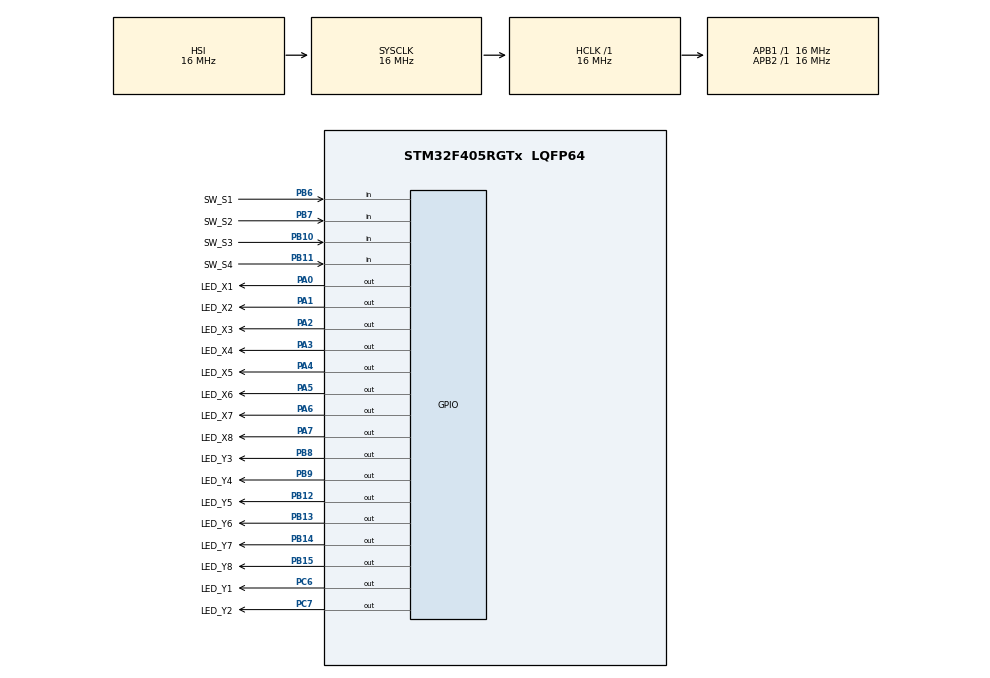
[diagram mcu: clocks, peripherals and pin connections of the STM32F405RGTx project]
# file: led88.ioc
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Mcu.Family=STM32F4
Mcu.Name=STM32F405RGTx
Mcu.Package=LQFP64
NVIC.PriorityGroup=NVIC_PRIORITYGROUP_4
PA0-WKUP.GPIO_Label=LED_X1
PA0-WKUP.PinState=GPIO_PIN_SET
PA0-WKUP.Signal=GPIO_Output
PA0-WKUP.Stacked=true
PA1.GPIO_Label=LED_X2
PA1.PinState=GPIO_PIN_SET
PA1.Signal=GPIO_Output
PA13.Mode=Serial_Wire
PA13.Signal=SYS_JTMS-SWDIO
PA14.Mode=Serial_Wire
PA14.Signal=SYS_JTCK-SWCLK
PA2.GPIO_Label=LED_X3
PA2.PinState=GPIO_PIN_SET
PA2.Signal=GPIO_Output
PA3.GPIO_Label=LED_X4
PA3.PinState=GPIO_PIN_SET
PA3.Signal=GPIO_Output
PA4.GPIO_Label=LED_X5
PA4.PinState=GPIO_PIN_SET
PA4.Signal=GPIO_Output
PA5.GPIO_Label=LED_X6
PA5.PinState=GPIO_PIN_SET
PA5.Signal=GPIO_Output
PA6.GPIO_Label=LED_X7
PA6.PinState=GPIO_PIN_SET
PA6.Signal=GPIO_Output
PA7.GPIO_Label=LED_X8
PA7.PinState=GPIO_PIN_SET
PA7.Signal=GPIO_Output
PB10.GPIO_Label=SW_S3
PB10.GPIO_PuPd=GPIO_PULLUP
PB10.Signal=GPIO_Input
PB11.GPIO_Label=SW_S4
PB11.GPIO_PuPd=GPIO_PULLUP
PB11.Signal=GPIO_Input
PB12.GPIO_Label=LED_Y5
PB12.PinState=GPIO_PIN_SET
PB12.Signal=GPIO_Output
PB13.GPIO_Label=LED_Y6
PB13.PinState=GPIO_PIN_SET
PB13.Signal=GPIO_Output
PB14.GPIO_Label=LED_Y7
PB14.PinState=GPIO_PIN_SET
PB14.Signal=GPIO_Output
PB15.GPIO_Label=LED_Y8
PB15.PinState=GPIO_PIN_SET
PB15.Signal=GPIO_Output
PB6.GPIO_Label=SW_S1
PB6.GPIO_PuPd=GPIO_PULLUP
PB6.Signal=GPIO_Input
PB7.GPIO_Label=SW_S2
PB7.GPIO_PuPd=GPIO_PULLUP
PB7.Signal=GPIO_Input
PB8.GPIO_Label=LED_Y3
PB8.PinState=GPIO_PIN_SET
PB8.Signal=GPIO_Output
PB9.GPIO_Label=LED_Y4
PB9.PinState=GPIO_PIN_SET
PB9.Signal=GPIO_Output
PC6.GPIO_Label=LED_Y1
PC6.PinState=GPIO_PIN_SET
PC6.Signal=GPIO_Output
PC7.GPIO_Label=LED_Y2
PC7.PinState=GPIO_PIN_SET
PC7.Signal=GPIO_Output
ProjectManager.HeapSize=0x200
ProjectManager.StackSize=0x400
ProjectManager.TargetToolchain=MDK-ARM V4
RCC.AHBFreq_Value=16000000
RCC.APB1Freq_Value=16000000
RCC.APB2Freq_Value=16000000
RCC.CortexFreq_Value=16000000
RCC.HSE_VALUE=25000000
RCC.HSI_VALUE=16000000
RCC.LSE_VALUE=32768
RCC.SYSCLKFreq_VALUE=16000000
RCC.VCOOutputFreq_Value=192000000
board=custom

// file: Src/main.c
/* USER CODE BEGIN Header */
/**
  ******************************************************************************
  * @file           : main.c
  * @brief          : Main program body
  ******************************************************************************
  * @attention
  *
  * <h2><center>&copy; Copyright (c) 2019 STMicroelectronics.
  * All rights reserved.</center></h2>
  *
  * This software component is licensed by ST under BSD 3-Clause license,
  * the "License"; You may not use this file except in compliance with the
  * License. You may obtain a copy of the License at:
  *                        opensource.org/licenses/BSD-3-Clause
  *
  ******************************************************************************
  */
/* USER CODE END Header */

#include "main.h"
#include "led88.h"

/* USER CODE BEGIN PV */

uint8_t led_r[8]={LED_X7_Pin,LED_X8_Pin,LED_X6_Pin,LED_X5_Pin,LED_X4_Pin,LED_X3_Pin,LED_X1_Pin,LED_X2_Pin};//?????????,???????
//uint8_t led_c[8]={LED_Y2_Pin,LED_Y1_Pin,LED_Y3_Pin,LED_Y4_Pin,LED_Y5_Pin,LED_Y6_Pin,LED_Y8_Pin,LED_Y7_Pin};//?????????,???????
uint8_t led_code[][8] = {

{0x00,0x3E,0x10,0x08,0x04,0x02,0x3E,0x00},	//×?·?N
{0x00,0x00,0x4A,0x4A,0x4A,0x4A,0x7E,0x00},	//×?·?E
{0x00,0x3E,0x40,0x40,0x40,0x40,0x3E,0x00},	//×?·?U
{0x00,0x00,0x42,0x7E,0x42,0x00,0x00,0x00},	//×?·?I
{0x0c,0x12,0x22,0x44,0x44,0x22,0x12,0x0c},	//xin;
{0x00,0x00,0x00,0x00,0x00,0x00,0x00,0x00}	//null
};

uint8_t i,j,l,m;
/* USER CODE END PV */

void SystemClock_Config(void);
static void MX_GPIO_Init(void);
/* USER CODE BEGIN PFP */
void move(void);
/* USER CODE END PFP */

int main(void)
{

  /* MCU Configuration--------------------------------------------------------*/

  /* Reset of all peripherals, Initializes the Flash interface and the Systick. */
  HAL_Init();

  /* Configure the system clock */
  SystemClock_Config();

  /* Initialize all configured peripherals */
  MX_GPIO_Init();

  /* Infinite loop */
  /* USER CODE BEGIN WHILE */
  while (1)
  {

		  for (l=0;l<10;l++)
		  {
			SwCheck(led_r,led_code);
			for(j=0;j<8;j++)
			{

			  HAL_GPIO_WritePin(GPIOA, led_r[8-j], GPIO_PIN_RESET);//低
			  SetYOutPut(~(*(*(led_code+0)+j+m)));
			  HAL_Delay(1);
			  HAL_GPIO_WritePin(GPIOA, led_r[8-j], GPIO_PIN_SET);
			}
		  }
		  if(m>31)
		  {
			m=0;
		  }
		  else m++;

    /* USER CODE END WHILE */

  }
}

void SystemClock_Config(void)
{
  RCC_OscInitTypeDef RCC_OscInitStruct = {0};
  RCC_ClkInitTypeDef RCC_ClkInitStruct = {0};

  /** Configure the main internal regulator output voltage
  */
  __HAL_RCC_PWR_CLK_ENABLE();
  __HAL_PWR_VOLTAGESCALING_CONFIG(PWR_REGULATOR_VOLTAGE_SCALE1);
  /** Initializes the CPU, AHB and APB busses clocks
  */
  RCC_OscInitStruct.OscillatorType = RCC_OSCILLATORTYPE_HSI;
  RCC_OscInitStruct.HSIState = RCC_HSI_ON;
  RCC_OscInitStruct.HSICalibrationValue = RCC_HSICALIBRATION_DEFAULT;
  RCC_OscInitStruct.PLL.PLLState = RCC_PLL_NONE;
  if (HAL_RCC_OscConfig(&RCC_OscInitStruct) != HAL_OK)
  {
    Error_Handler();
  }
  /** Initializes the CPU, AHB and APB busses clocks
  */
  RCC_ClkInitStruct.ClockType = RCC_CLOCKTYPE_HCLK|RCC_CLOCKTYPE_SYSCLK
                              |RCC_CLOCKTYPE_PCLK1|RCC_CLOCKTYPE_PCLK2;
  RCC_ClkInitStruct.SYSCLKSource = RCC_SYSCLKSOURCE_HSI;
  RCC_ClkInitStruct.AHBCLKDivider = RCC_SYSCLK_DIV1;
  RCC_ClkInitStruct.APB1CLKDivider = RCC_HCLK_DIV1;
  RCC_ClkInitStruct.APB2CLKDivider = RCC_HCLK_DIV1;

  if (HAL_RCC_ClockConfig(&RCC_ClkInitStruct, FLASH_LATENCY_0) != HAL_OK)
  {
    Error_Handler();
  }
}

static void MX_GPIO_Init(void)
{
  GPIO_InitTypeDef GPIO_InitStruct = {0};

  /* GPIO Ports Clock Enable */
  __HAL_RCC_GPIOA_CLK_ENABLE();
  __HAL_RCC_GPIOB_CLK_ENABLE();
  __HAL_RCC_GPIOC_CLK_ENABLE();

  /*Configure GPIO pin Output Level */
  HAL_GPIO_WritePin(GPIOA, LED_X1_Pin|LED_X2_Pin|LED_X3_Pin|LED_X4_Pin
                          |LED_X5_Pin|LED_X6_Pin|LED_X7_Pin|LED_X8_Pin, GPIO_PIN_SET);

  /*Configure GPIO pin Output Level */
  HAL_GPIO_WritePin(GPIOB, LED_Y5_Pin|LED_Y6_Pin|LED_Y7_Pin|LED_Y8_Pin
                          |LED_Y3_Pin|LED_Y4_Pin, GPIO_PIN_SET);

  /*Configure GPIO pin Output Level */
  HAL_GPIO_WritePin(GPIOC, LED_Y1_Pin|LED_Y2_Pin, GPIO_PIN_SET);

  /*Configure GPIO pins : LED_X1_Pin LED_X2_Pin LED_X3_Pin LED_X4_Pin
                           LED_X5_Pin LED_X6_Pin LED_X7_Pin LED_X8_Pin */
  GPIO_InitStruct.Pin = LED_X1_Pin|LED_X2_Pin|LED_X3_Pin|LED_X4_Pin
                          |LED_X5_Pin|LED_X6_Pin|LED_X7_Pin|LED_X8_Pin;
  GPIO_InitStruct.Mode = GPIO_MODE_OUTPUT_PP;
  GPIO_InitStruct.Pull = GPIO_NOPULL;
  GPIO_InitStruct.Speed = GPIO_SPEED_FREQ_LOW;
  HAL_GPIO_Init(GPIOA, &GPIO_InitStruct);

  /*Configure GPIO pins : SW_S3_Pin SW_S4_Pin SW_S1_Pin SW_S2_Pin */
  GPIO_InitStruct.Pin = SW_S3_Pin|SW_S4_Pin|SW_S1_Pin|SW_S2_Pin;
  GPIO_InitStruct.Mode = GPIO_MODE_INPUT;
  GPIO_InitStruct.Pull = GPIO_PULLUP;
  HAL_GPIO_Init(GPIOB, &GPIO_InitStruct);

  /*Configure GPIO pins : LED_Y5_Pin LED_Y6_Pin LED_Y7_Pin LED_Y8_Pin
                           LED_Y3_Pin LED_Y4_Pin */
  GPIO_InitStruct.Pin = LED_Y5_Pin|LED_Y6_Pin|LED_Y7_Pin|LED_Y8_Pin
                          |LED_Y3_Pin|LED_Y4_Pin;
  GPIO_InitStruct.Mode = GPIO_MODE_OUTPUT_PP;
  GPIO_InitStruct.Pull = GPIO_NOPULL;
  GPIO_InitStruct.Speed = GPIO_SPEED_FREQ_LOW;
  HAL_GPIO_Init(GPIOB, &GPIO_InitStruct);

  /*Configure GPIO pins : LED_Y1_Pin LED_Y2_Pin */
  GPIO_InitStruct.Pin = LED_Y1_Pin|LED_Y2_Pin;
  GPIO_InitStruct.Mode = GPIO_MODE_OUTPUT_PP;
  GPIO_InitStruct.Pull = GPIO_NOPULL;
  GPIO_InitStruct.Speed = GPIO_SPEED_FREQ_LOW;
  HAL_GPIO_Init(GPIOC, &GPIO_InitStruct);

}

/* USER CODE BEGIN 4 */

void move(void)
{
	uint8_t i,j,l;

//	for(i=0;i<8;i++)
//	{
		for(j=0;j<8;j++)
		{
			line(i,led_code[0][j],led_r);
		}
//	}
			//一个循环后，某行的所有的点向左移动一位
		//8个循环后，一个字母的所有点向左一位
}
/* USER CODE END 4 */

void Error_Handler(void)
{
}

/************************ (C) COPYRIGHT STMicroelectronics *****END OF FILE****/
